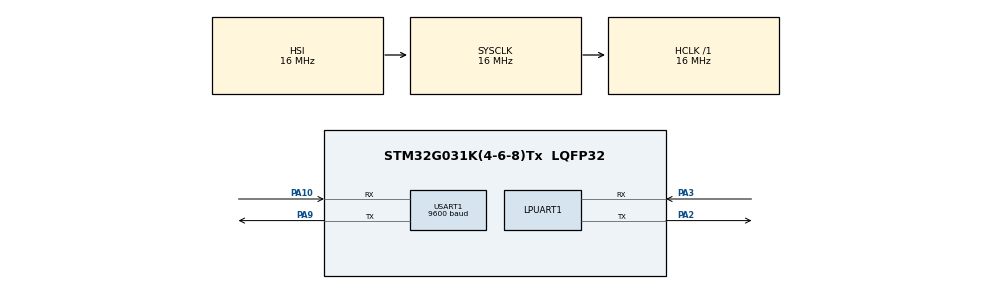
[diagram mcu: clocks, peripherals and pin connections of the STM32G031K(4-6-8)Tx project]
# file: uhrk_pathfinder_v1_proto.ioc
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Mcu.Family=STM32G0
Mcu.Name=STM32G031K(4-6-8)Tx
Mcu.Package=LQFP32
NVIC.LPUART1_IRQn=true\:0\:0\:false\:false\:true\:true\:true\:true
PA10.Mode=Asynchronous
PA10.Signal=USART1_RX
PA2.Mode=Asynchronous
PA2.Signal=LPUART1_TX
PA3.Mode=Asynchronous
PA3.Signal=LPUART1_RX
PA9.Mode=Asynchronous
PA9.Signal=USART1_TX
ProjectManager.HeapSize=0x200
ProjectManager.StackSize=0x400
ProjectManager.TargetToolchain=STM32CubeIDE
RCC.AHBFreq_Value=16000000
RCC.CortexFreq_Value=16000000
RCC.EXTERNAL_CLOCK_VALUE=12288000
RCC.HCLKFreq_Value=16000000
RCC.HSE_VALUE=8000000
RCC.HSI_VALUE=16000000
RCC.LSE_VALUE=32768
RCC.SYSCLKFreq_VALUE=16000000
RCC.VCOOutputFreq_Value=128000000
USART1.BaudRate=9600
USART1.VirtualMode-Asynchronous=VM_ASYNC
board=NUCLEO-G031K8

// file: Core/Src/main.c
/* USER CODE BEGIN Header */
/**
  ******************************************************************************
  * @file           : main.c
  * @brief          : Main program body
  ******************************************************************************
  * @attention
  *
  * Copyright (c) 2026 STMicroelectronics.
  * All rights reserved.
  *
  * This software is licensed under terms that can be found in the LICENSE file
  * in the root directory of this software component.
  * If no LICENSE file comes with this software, it is provided AS-IS.
  *
  ******************************************************************************
  */
/* USER CODE END Header */
#include "main.h"

/* USER CODE BEGIN Includes */

#include <stdint.h>
#include "ublox.h"
#include "cmsis_gcc.h"

/* USER CODE END Includes */

UART_HandleTypeDef hlpuart1;
UART_HandleTypeDef huart1;

void SystemClock_Config(void);
static void MX_GPIO_Init(void);
static void MX_LPUART1_UART_Init(void);
static void MX_USART1_UART_Init(void);

/* USER CODE BEGIN 0 */

/* state machine */
typedef enum
{
    asleep     = 0,
    listening  = 1,
    send_ready = 2,
    init       = 3,
    processing = 4
} GlobalState;

typedef struct
{
    uint8_t buffer[128];
    uint8_t len;
} ProcessingBufferTypeDef;

GlobalState global_state = init;

/* USER CODE END 0 */

int main(void)
{

    /* USER CODE BEGIN 1 */

    uBLOX_BufferTypeDef receive_buffer;
    ProcessingBufferTypeDef processing_buffer;
    uint8_t transmit_buffer[256];

    /* USER CODE END 1 */

    /* MCU Configuration--------------------------------------------------------*/

    /* Reset of all peripherals, Initializes the Flash interface and the Systick. */
    HAL_Init();
    uint8_t receive_data;

    /* Configure the system clock */
    SystemClock_Config();

    /* Initialize all configured peripherals */
    MX_GPIO_Init();
    MX_LPUART1_UART_Init();
    MX_USART1_UART_Init();
    /* USER CODE BEGIN 2 */

    uBLOX_BufferInit(&receive_buffer);
    processing_buffer.len = 0;

    global_state = listening;

    /* USER CODE END 2 */

    /* Infinite loop */
    while (1)
    {

        /* USER CODE BEGIN 3 */

        /*
        if (huart1.Instance->ISR & USART_ISR_RXNE_RXFNE)
        {
          data = huart1.Instance->RDR & 0xFF;
          hlpuart1.Instance->TDR = data;
        }

        if (huart1.Instance->ISR & USART_ISR_IDLE)
        {
          huart1.Instance->ICR = USART_ICR_IDLECF;
          hlpuart1.Instance->TDR = nl;
        }
        */

        if (global_state == init)
        {
            uBLOX_BufferInit(&receive_buffer);
            global_state = listening;
        }

        /* note: the module doesn't listen and transmit at the same time, so data processing
         * can safely happen if not in the "listening" state */
        switch (global_state)
        {
            case listening:
                // incoming data check
                if (huart1.Instance->ISR & USART_ISR_RXNE_RXFNE)
                {
                    receive_data = huart1.Instance->RDR & 0xFF;
                    __COMPILER_BARRIER();
                    if (uBLOX_BufferPush(&receive_buffer, receive_data) != 0)
                    {
                        /* TODO: figure out how to handle buffer not having space for more */
                    }
                }

                if (huart1.Instance->ISR & USART_ISR_IDLE)
                {
                    huart1.Instance->ICR = USART_ICR_IDLECF;
                    global_state = processing;
                }
                break;
            case processing:
                for (uint8_t i = 0; (i < sizeof(processing_buffer.buffer)) && (receive_buffer.buffer[i] != '\n'); ++i)
                {
                    /* TODO: redo this to use my buffer control functions */
                    processing_buffer.buffer[i] = receive_buffer.buffer[i];
                    ++(processing_buffer.len);
                }

                /* check for ANTSTATUS msg */
                if (NMEA_In_AntStatus(processing_buffer.buffer))
                {
                    /* TODO: get & save antstatus */
                }
                break;
            case send_ready:
                break;
        }

        if (global_state == send_ready)
        {
        }
    }
    /* USER CODE END 3 */
}

void SystemClock_Config(void)
{
  RCC_OscInitTypeDef RCC_OscInitStruct = {0};
  RCC_ClkInitTypeDef RCC_ClkInitStruct = {0};

  /** Configure the main internal regulator output voltage
  */
  HAL_PWREx_ControlVoltageScaling(PWR_REGULATOR_VOLTAGE_SCALE1);

  /** Initializes the RCC Oscillators according to the specified parameters
  * in the RCC_OscInitTypeDef structure.
  */
  RCC_OscInitStruct.OscillatorType = RCC_OSCILLATORTYPE_HSI;
  RCC_OscInitStruct.HSIState = RCC_HSI_ON;
  RCC_OscInitStruct.HSIDiv = RCC_HSI_DIV1;
  RCC_OscInitStruct.HSICalibrationValue = RCC_HSICALIBRATION_DEFAULT;
  RCC_OscInitStruct.PLL.PLLState = RCC_PLL_NONE;
  if (HAL_RCC_OscConfig(&RCC_OscInitStruct) != HAL_OK)
  {
    Error_Handler();
  }

  /** Initializes the CPU, AHB and APB buses clocks
  */
  RCC_ClkInitStruct.ClockType = RCC_CLOCKTYPE_HCLK|RCC_CLOCKTYPE_SYSCLK
                              |RCC_CLOCKTYPE_PCLK1;
  RCC_ClkInitStruct.SYSCLKSource = RCC_SYSCLKSOURCE_HSI;
  RCC_ClkInitStruct.AHBCLKDivider = RCC_SYSCLK_DIV1;
  RCC_ClkInitStruct.APB1CLKDivider = RCC_HCLK_DIV1;

  if (HAL_RCC_ClockConfig(&RCC_ClkInitStruct, FLASH_LATENCY_0) != HAL_OK)
  {
    Error_Handler();
  }
}

static void MX_LPUART1_UART_Init(void)
{

  hlpuart1.Instance = LPUART1;
  hlpuart1.Init.BaudRate = 9600;
  hlpuart1.Init.WordLength = UART_WORDLENGTH_8B;
  hlpuart1.Init.StopBits = UART_STOPBITS_1;
  hlpuart1.Init.Parity = UART_PARITY_NONE;
  hlpuart1.Init.Mode = UART_MODE_TX_RX;
  hlpuart1.Init.HwFlowCtl = UART_HWCONTROL_NONE;
  hlpuart1.Init.OneBitSampling = UART_ONE_BIT_SAMPLE_DISABLE;
  hlpuart1.Init.ClockPrescaler = UART_PRESCALER_DIV1;
  hlpuart1.AdvancedInit.AdvFeatureInit = UART_ADVFEATURE_NO_INIT;
  hlpuart1.FifoMode = UART_FIFOMODE_DISABLE;
  if (HAL_UART_Init(&hlpuart1) != HAL_OK)
  {
    Error_Handler();
  }
  if (HAL_UARTEx_SetTxFifoThreshold(&hlpuart1, UART_TXFIFO_THRESHOLD_1_8) != HAL_OK)
  {
    Error_Handler();
  }
  if (HAL_UARTEx_SetRxFifoThreshold(&hlpuart1, UART_RXFIFO_THRESHOLD_1_8) != HAL_OK)
  {
    Error_Handler();
  }
  if (HAL_UARTEx_DisableFifoMode(&hlpuart1) != HAL_OK)
  {
    Error_Handler();
  }

}

static void MX_USART1_UART_Init(void)
{

  huart1.Instance = USART1;
  huart1.Init.BaudRate = 9600;
  huart1.Init.WordLength = UART_WORDLENGTH_8B;
  huart1.Init.StopBits = UART_STOPBITS_1;
  huart1.Init.Parity = UART_PARITY_NONE;
  huart1.Init.Mode = UART_MODE_TX_RX;
  huart1.Init.HwFlowCtl = UART_HWCONTROL_NONE;
  huart1.Init.OverSampling = UART_OVERSAMPLING_16;
  huart1.Init.OneBitSampling = UART_ONE_BIT_SAMPLE_DISABLE;
  huart1.Init.ClockPrescaler = UART_PRESCALER_DIV1;
  huart1.AdvancedInit.AdvFeatureInit = UART_ADVFEATURE_NO_INIT;
  if (HAL_UART_Init(&huart1) != HAL_OK)
  {
    Error_Handler();
  }
  if (HAL_UARTEx_SetTxFifoThreshold(&huart1, UART_TXFIFO_THRESHOLD_1_8) != HAL_OK)
  {
    Error_Handler();
  }
  if (HAL_UARTEx_SetRxFifoThreshold(&huart1, UART_RXFIFO_THRESHOLD_1_8) != HAL_OK)
  {
    Error_Handler();
  }
  if (HAL_UARTEx_DisableFifoMode(&huart1) != HAL_OK)
  {
    Error_Handler();
  }

}

static void MX_GPIO_Init(void)
{

  /* GPIO Ports Clock Enable */
  __HAL_RCC_GPIOA_CLK_ENABLE();

}

void Error_Handler(void)
{
  __disable_irq();
  while (1)
  {
  }
}
